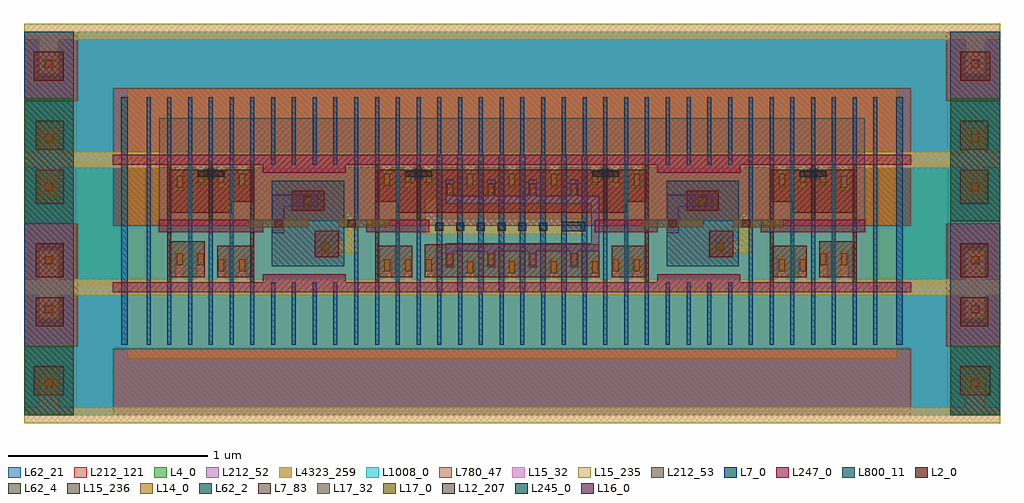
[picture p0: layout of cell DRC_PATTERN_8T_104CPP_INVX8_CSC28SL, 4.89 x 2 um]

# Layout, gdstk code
import gdstk
lib = gdstk.Library(unit=1e-6, precision=1e-09)
def R(c, l, rs):  # rectangles x0, y0, x1, y1
    for r in rs: c.add(gdstk.rectangle(r[:2], r[2:], *l))
def A(c, l, x, y, w, h, nx, ny, dx, dy):  # array of equal rectangles
    R(c, l, [(x+i*dx, y+j*dy, x+i*dx+w, y+j*dy+h) for i in range(nx) for j in range(ny)])
def P(c, l, *ps):  # polygons
    for p in ps: c.add(gdstk.Polygon(p, *l))
L2_0 = (2, 0)
L4_0 = (4, 0)
L7_0 = (7, 0)
L7_83 = (7, 83)
L12_207 = (12, 207)
L14_0 = (14, 0)
L15_32 = (15, 32)
L15_235 = (15, 235)
L15_236 = (15, 236)
L16_0 = (16, 0)
L17_0 = (17, 0)
L17_32 = (17, 32)
L62_2 = (62, 2)
L62_4 = (62, 4)
L62_21 = (62, 21)
L212_52 = (212, 52)
L212_53 = (212, 53)
L212_121 = (212, 121)
L245_0 = (245, 0)
L247_0 = (247, 0)
L780_47 = (780, 47)
L800_11 = (800, 11)
L1008_0 = (1008, 0)
L4323_259 = (4323, 259)

sc8t_colcappx1_csc20sl = lib.new_cell('SC8T_COLCAPPX1_CSC20SL')
R(sc8t_colcappx1_csc20sl, L4_0, [(0,0,0.104,0.432)])
R(sc8t_colcappx1_csc20sl, L7_0, [(-0.01,0.328,0.01,0.665), (0.094,0.328,0.114,0.665)])
R(sc8t_colcappx1_csc20sl, L15_32, [(-0.052,-0.04,0.156,0.04), (-0.052,0.6,0.156,0.68)])
R(sc8t_colcappx1_csc20sl, L15_235, [(-0.052,-0.04,0.156,0.04), (-0.052,0.6,0.156,0.68)])
R(sc8t_colcappx1_csc20sl, L62_21, [(0,0,0.104,0.64)])
R(sc8t_colcappx1_csc20sl, L212_52, [(0,0,0.104,0.432)])
R(sc8t_colcappx1_csc20sl, L212_53, [(0,0.432,0.104,0.64), (0,0.432,0.104,0.64)])
R(sc8t_colcappx1_csc20sl, L212_121, [(0,0,0.104,0.64)])
R(sc8t_colcappx1_csc20sl, L247_0, [(-0.052,0.615,0.156,0.665)])
R(sc8t_colcappx1_csc20sl, L780_47, [(0,0.282,0.104,0.64)])
R(sc8t_colcappx1_csc20sl, L1008_0, [(0,0,0.104,0.282)])
R(sc8t_colcappx1_csc20sl, L4323_259, [(0,0.282,0.104,0.64)])
sc8t_colcappx1_csc20sl.add(gdstk.Label('VDD', (0.05,0.64), layer=15, texttype=20))
sc8t_colcappx1_csc20sl.add(gdstk.Label('VSS', (0.05,0), layer=15, texttype=20))
sc8t_colcappx1_csc20sl.add(gdstk.Label('VNW_N', (0.05,0), layer=4, texttype=20))
sc8t_colcappx1_csc20sl.add(gdstk.Label('SC8T_104CPP_BASE_CSC20SL', (0,0), layer=63, texttype=63))

sc8t_tapx10_csc20sl = lib.new_cell('SC8T_TAPX10_CSC20SL')
R(sc8t_tapx10_csc20sl, L2_0, [(0.032,0.05,0.208,0.208), (0.832,0.05,1.008,0.208), (0.519,0.15,0.64,0.283), (0.406,0.383,0.568,0.485)])
P(sc8t_tapx10_csc20sl, L2_0, [(0.832,0.59),(1.04,0.59),(1.04,0.375),(0.936,0.375),(0.936,0.43),(0.832,0.43)],
  [(0.208,0.59),(0,0.59),(0,0.375),(0.104,0.375),(0.104,0.43),(0.208,0.43)])
R(sc8t_tapx10_csc20sl, L4_0, [(0,0,0.208,0.308), (0.208,0,0.782,0.333), (0.782,0,1.04,0.308)])
A(sc8t_tapx10_csc20sl, L7_0, -0.01, -0.025, 0.02, 0.69, 3, 1, 0.104, 0)
A(sc8t_tapx10_csc20sl, L7_0, 0.822, -0.025, 0.02, 0.69, 3, 1, 0.104, 0)
R(sc8t_tapx10_csc20sl, L7_0, [(0.718,-0.025,0.738,0.665), (0.822,-0.025,0.842,0.665), (-0.018,0.545,0.018,0.595), (-0.018,0.545,0.018,0.595), (1.022,0.545,1.058,0.595), (1.022,0.545,1.058,0.595)])
R(sc8t_tapx10_csc20sl, L7_83, [(0.198,0.025,0.218,0.275), (0.822,0.025,0.842,0.275), (0.198,0.339,0.218,0.615), (0.822,0.339,0.842,0.615)])
R(sc8t_tapx10_csc20sl, L12_207, [(-0.01,0.339,0.01,0.615), (1.03,0.339,1.05,0.615)])
R(sc8t_tapx10_csc20sl, L14_0, [(0.037,0.08,0.067,0.14), (0.141,0.08,0.171,0.14), (0.869,0.08,0.899,0.14), (0.973,0.08,1.003,0.14), (0.552,0.184,0.592,0.224), (0.466,0.415,0.506,0.455), (0.141,0.509,0.171,0.569), (0.869,0.509,0.899,0.569), (0.037,0.525,0.067,0.585), (0.037,0.525,0.067,0.585), (0.973,0.525,1.003,0.585)])
R(sc8t_tapx10_csc20sl, L15_32, [(-0.052,-0.04,1.092,0.04), (0.032,-0.04,0.072,0.15), (0.136,-0.04,0.176,0.15), (0.864,-0.04,0.904,0.15), (0.968,-0.04,1.008,0.15), (0.032,0.499,0.072,0.68), (0.136,0.499,0.176,0.68), (0.864,0.499,0.904,0.68), (0.968,0.499,1.008,0.68), (-0.052,0.6,1.092,0.68)])
R(sc8t_tapx10_csc20sl, L15_235, [(-0.052,-0.04,1.092,0.04), (0.032,-0.04,0.072,0.15), (0.136,-0.04,0.176,0.15), (0.864,-0.04,0.904,0.15), (0.968,-0.04,1.008,0.15), (0.522,0.174,0.736,0.234), (0.676,0.174,0.736,0.37), (0.032,0.499,0.072,0.68), (0.136,0.499,0.176,0.68), (0.864,0.499,0.904,0.68), (0.968,0.499,1.008,0.68), (-0.052,0.6,1.092,0.68)])
R(sc8t_tapx10_csc20sl, L15_236, [(0.308,0.27,0.368,0.465), (0.308,0.405,0.536,0.465)])
R(sc8t_tapx10_csc20sl, L16_0, [(0.318,0.3,0.358,0.34), (0.686,0.3,0.726,0.34)])
R(sc8t_tapx10_csc20sl, L17_0, [(0.19,0.3,0.49,0.34), (0.638,0.3,0.891,0.34)])
R(sc8t_tapx10_csc20sl, L17_32, [(0.19,0.3,0.49,0.34), (0.638,0.3,0.891,0.34)])
R(sc8t_tapx10_csc20sl, L62_2, [(0.094,0.025,0.114,0.275), (0.926,0.025,0.946,0.275), (0.094,0.339,0.114,0.615), (0.926,0.339,0.946,0.615)])
R(sc8t_tapx10_csc20sl, L62_21, [(0,0,1.04,0.64)])
P(sc8t_tapx10_csc20sl, L212_52, [(1.04,0.308),(0.782,0.308),(0.782,0.333),(0.208,0.333),(0.208,0.308),(0,0.308),(0,0),(1.04,0)])
P(sc8t_tapx10_csc20sl, L212_53, [(1.04,0.64),(0,0.64),(0,0.308),(0.208,0.308),(0.208,0.333),(0.782,0.333),(0.782,0.308),(1.04,0.308)])
R(sc8t_tapx10_csc20sl, L212_121, [(0,0,1.04,0.64)])
R(sc8t_tapx10_csc20sl, L245_0, [(0,0.555,0.067,0.585), (0,0.555,0.067,0.585), (0.973,0.555,1.04,0.585)])
R(sc8t_tapx10_csc20sl, L247_0, [(-0.052,-0.025,1.092,0.025), (0.26,0,0.676,0.065), (-0.054,0.275,0.262,0.339), (0.778,0.275,1.094,0.339), (0.26,0.575,0.676,0.64), (-0.052,0.615,1.092,0.665)])
R(sc8t_tapx10_csc20sl, L780_47, [(0.782,0.308,1.04,0.64), (0.306,0.333,0.668,0.535), (0.668,0.333,0.782,0.64), (0.306,0.535,0.668,0.64)])
P(sc8t_tapx10_csc20sl, L780_47, [(0.306,0.64),(0,0.64),(0,0.308),(0.208,0.308),(0.208,0.333),(0.306,0.333)])
R(sc8t_tapx10_csc20sl, L800_11, [(0.306,0.105,0.668,0.535)])
R(sc8t_tapx10_csc20sl, L1008_0, [(0.419,0,0.782,0.1), (0.782,0,1.04,0.308), (0.419,0.1,0.782,0.333)])
P(sc8t_tapx10_csc20sl, L1008_0, [(0.419,0.333),(0.208,0.333),(0.208,0.308),(0,0.308),(0,0),(0.419,0)])
R(sc8t_tapx10_csc20sl, L4323_259, [(0,0,1.04,0.64)])
sc8t_tapx10_csc20sl.add(gdstk.Label('VDD', (0.05,0.64), layer=15, texttype=20))
sc8t_tapx10_csc20sl.add(gdstk.Label('VSS', (0.05,0), layer=15, texttype=20))
sc8t_tapx10_csc20sl.add(gdstk.Label('SC8T_104CPP_BASE_CSC20SL', (0,0), layer=63, texttype=63))
sc8t_tapx10_csc20sl.add(gdstk.Label('VPW_N', (0.766,0.32), layer=17, texttype=20))
sc8t_tapx10_csc20sl.add(gdstk.Label('VNW_P', (0.421,0.32), layer=17, texttype=20))

sc8t_rowcapantennarx9_cs = lib.new_cell('SC8T_ROWCAPANTENNARX9_CSC20SL')
R(sc8t_rowcapantennarx9_cs, L2_0, [(0.032,0.05,0.208,0.23), (0.736,0.05,0.878,0.22), (0,0.375,0.208,0.59), (0.736,0.42,0.878,0.59)])
R(sc8t_rowcapantennarx9_cs, L4_0, [(0,0,0.258,0.308), (0.258,0,0.678,0.64)])
A(sc8t_rowcapantennarx9_cs, L7_0, -0.01, -0.025, 0.02, 0.69, 4, 1, 0.104, 0)
R(sc8t_rowcapantennarx9_cs, L7_0, [(0.302,-0.025,0.322,0.665), (0.416,-0.025,0.448,0.665), (-0.018,0.545,0.018,0.595)])
R(sc8t_rowcapantennarx9_cs, L7_83, [(0.198,0.025,0.218,0.275), (0.198,0.339,0.218,0.615)])
R(sc8t_rowcapantennarx9_cs, L12_207, [(-0.01,0.339,0.01,0.615)])
R(sc8t_rowcapantennarx9_cs, L14_0, [(0.037,0.11,0.067,0.17), (0.141,0.11,0.171,0.17), (0.791,0.115,0.831,0.155), (0.791,0.485,0.831,0.525), (0.141,0.5,0.171,0.56), (0.037,0.525,0.067,0.585)])
R(sc8t_rowcapantennarx9_cs, L15_32, [(-0.052,-0.04,0.936,0.04), (0.032,-0.04,0.072,0.18), (0.136,-0.04,0.176,0.18), (0.761,-0.04,0.861,0.185), (0.761,0.454,0.861,0.68), (0.136,0.485,0.176,0.68), (0.032,0.515,0.072,0.68), (-0.052,0.6,0.936,0.68)])
R(sc8t_rowcapantennarx9_cs, L15_235, [(-0.052,-0.04,0.936,0.04), (0.032,-0.04,0.072,0.18), (0.136,-0.04,0.176,0.18), (0.761,-0.04,0.861,0.185), (0.761,0.454,0.861,0.68), (0.136,0.485,0.176,0.68), (0.032,0.515,0.072,0.68), (-0.052,0.6,0.936,0.68)])
R(sc8t_rowcapantennarx9_cs, L62_2, [(0.094,0.025,0.114,0.275), (0.094,0.339,0.114,0.615)])
R(sc8t_rowcapantennarx9_cs, L62_4, [(0.686,0.332,0.936,0.64)])
R(sc8t_rowcapantennarx9_cs, L62_21, [(0,0,0.936,0.64)])
R(sc8t_rowcapantennarx9_cs, L212_52, [(0,0,0.258,0.308)])
R(sc8t_rowcapantennarx9_cs, L212_53, [(0,0.308,0.258,0.64)])
R(sc8t_rowcapantennarx9_cs, L212_121, [(0,0,0.936,0.64)])
R(sc8t_rowcapantennarx9_cs, L245_0, [(0,0.555,0.067,0.585)])
R(sc8t_rowcapantennarx9_cs, L247_0, [(-0.052,-0.025,0.492,0.025), (-0.054,0.275,0.262,0.339), (-0.052,0.615,0.492,0.665)])
R(sc8t_rowcapantennarx9_cs, L780_47, [(0.668,0,0.936,0.32), (0,0.308,0.488,0.64)])
R(sc8t_rowcapantennarx9_cs, L800_11, [(0.686,0,0.936,0.64)])
R(sc8t_rowcapantennarx9_cs, L1008_0, [(0,0,0.488,0.308), (0.488,0,0.668,0.64), (0.668,0.32,0.936,0.64)])
R(sc8t_rowcapantennarx9_cs, L4323_259, [(0,0,0.418,0.64)])
sc8t_rowcapantennarx9_cs.add(gdstk.Label('VSS', (0.05,0), layer=15, texttype=20))
sc8t_rowcapantennarx9_cs.add(gdstk.Label('VDD', (0.05,0.64), layer=15, texttype=20))
sc8t_rowcapantennarx9_cs.add(gdstk.Label('VNW_N', (0.05,0), layer=4, texttype=20))
sc8t_rowcapantennarx9_cs.add(gdstk.Label('SC8T_104CPP_BASE_CSC20SL', (0,0), layer=63, texttype=63))

sc8t_invx8_csc28sl = lib.new_cell('SC8T_INVX8_CSC28SL')
R(sc8t_invx8_csc28sl, L2_0, [(0.032,0.05,0.904,0.215), (0,0.375,0.936,0.59)])
R(sc8t_invx8_csc28sl, L4_0, [(0,0,0.936,0.308)])
A(sc8t_invx8_csc28sl, L7_0, 0.09, -0.025, 0.028, 0.69, 8, 1, 0.104, 0)
R(sc8t_invx8_csc28sl, L7_0, [(-0.01,-0.025,0.01,0.665), (0.926,-0.025,0.946,0.665), (0.812,0.285,0.842,0.325), (-0.018,0.545,0.018,0.595), (0.918,0.545,0.954,0.595)])
R(sc8t_invx8_csc28sl, L12_207, [(-0.01,0.339,0.01,0.615), (0.926,0.339,0.946,0.615)])
A(sc8t_invx8_csc28sl, L14_0, 0.245, 0.07, 0.03, 0.06, 4, 1, 0.208, 0)
A(sc8t_invx8_csc28sl, L14_0, 0.141, 0.11, 0.03, 0.06, 4, 2, 0.208, 0.349)
A(sc8t_invx8_csc28sl, L14_0, 0.245, 0.51, 0.03, 0.06, 3, 1, 0.208, 0)
R(sc8t_invx8_csc28sl, L14_0, [(0.037,0.08,0.067,0.14), (0.037,0.525,0.067,0.585), (0.869,0.525,0.899,0.585)])
A(sc8t_invx8_csc28sl, L15_32, 0.24, -0.04, 0.04, 0.18, 4, 1, 0.208, 0)
A(sc8t_invx8_csc28sl, L15_32, 0.136, 0.1, 0.04, 0.12, 4, 2, 0.208, 0.319)
A(sc8t_invx8_csc28sl, L15_32, 0.24, 0.5, 0.04, 0.18, 3, 1, 0.208, 0)
R(sc8t_invx8_csc28sl, L15_32, [(-0.052,-0.04,0.988,0.04), (-0.052,-0.04,0.988,0.04), (-0.052,-0.04,0.988,0.04), (-0.052,-0.04,0.988,0.04), (-0.052,-0.04,0.988,0.04), (0.032,-0.04,0.072,0.15), (0.136,0.18,0.904,0.22), (0.136,0.18,0.904,0.22), (0.136,0.18,0.904,0.22), (0.864,0.18,0.904,0.459), (0.034,0.265,0.094,0.44), (0.034,0.265,0.822,0.345), (0.136,0.419,0.904,0.459), (0.032,0.515,0.072,0.68), (0.864,0.515,0.904,0.68), (-0.052,0.6,0.988,0.68)])
A(sc8t_invx8_csc28sl, L15_235, 0.24, -0.04, 0.04, 0.18, 4, 1, 0.208, 0)
A(sc8t_invx8_csc28sl, L15_235, 0.24, 0.5, 0.04, 0.18, 3, 1, 0.208, 0)
R(sc8t_invx8_csc28sl, L15_235, [(-0.052,-0.04,0.988,0.04), (-0.052,-0.04,0.988,0.04), (-0.052,-0.04,0.988,0.04), (-0.052,-0.04,0.988,0.04), (-0.052,-0.04,0.988,0.04), (0.032,-0.04,0.072,0.15), (0.034,0.265,0.822,0.345), (0.034,0.265,0.094,0.44), (0.032,0.515,0.072,0.68), (0.864,0.515,0.904,0.68), (-0.052,0.6,0.988,0.68)])
A(sc8t_invx8_csc28sl, L15_236, 0.136, 0.1, 0.04, 0.12, 4, 2, 0.208, 0.319)
R(sc8t_invx8_csc28sl, L15_236, [(0.136,0.18,0.904,0.22), (0.136,0.18,0.904,0.22), (0.136,0.18,0.904,0.22), (0.864,0.18,0.904,0.459), (0.136,0.419,0.904,0.459)])
R(sc8t_invx8_csc28sl, L62_21, [(0,0,0.936,0.64)])
R(sc8t_invx8_csc28sl, L212_52, [(0,0,0.936,0.308)])
R(sc8t_invx8_csc28sl, L212_53, [(0,0.308,0.936,0.64)])
R(sc8t_invx8_csc28sl, L212_121, [(0,0,0.936,0.64)])
A(sc8t_invx8_csc28sl, L245_0, 0.084, 0.283, 0.04, 0.04, 6, 1, 0.104, 0)
R(sc8t_invx8_csc28sl, L245_0, [(0.716,0.28,0.836,0.33), (0,0.555,0.067,0.585), (0.869,0.555,0.936,0.585)])
R(sc8t_invx8_csc28sl, L247_0, [(-0.052,-0.025,0.988,0.025), (-0.054,0.275,0.05,0.339), (0.886,0.275,0.99,0.339), (-0.052,0.615,0.988,0.665)])
R(sc8t_invx8_csc28sl, L780_47, [(0,0.308,0.936,0.64)])
R(sc8t_invx8_csc28sl, L1008_0, [(0,0,0.936,0.308)])
R(sc8t_invx8_csc28sl, L4323_259, [(0,0,0.936,0.64)])
sc8t_invx8_csc28sl.add(gdstk.Label('VDD', (0.05,0.64), layer=15, texttype=20))
sc8t_invx8_csc28sl.add(gdstk.Label('VSS', (0.05,0), layer=15, texttype=20))
sc8t_invx8_csc28sl.add(gdstk.Label('Z', (0.884,0.37), layer=15, texttype=20))
sc8t_invx8_csc28sl.add(gdstk.Label('A', (0.081,0.322), layer=15, texttype=20))
sc8t_invx8_csc28sl.add(gdstk.Label('VNW_N', (0.05,0), layer=4, texttype=20))
sc8t_invx8_csc28sl.add(gdstk.Label('VPW_P', (0.05,0.64), layer=62, texttype=10))
sc8t_invx8_csc28sl.add(gdstk.Label('SC8T_104CPP_BASE_CSC28SL', (0,0), layer=63, texttype=63))

sc8t_colcapnx1_csc20sl = lib.new_cell('SC8T_COLCAPNX1_CSC20SL')
R(sc8t_colcapnx1_csc20sl, L4_0, [(0,0,0.104,0.64)])
R(sc8t_colcapnx1_csc20sl, L7_0, [(-0.01,-0.025,0.01,0.288), (0.094,-0.025,0.114,0.288)])
R(sc8t_colcapnx1_csc20sl, L15_32, [(-0.052,-0.04,0.156,0.04), (-0.052,0.6,0.156,0.68)])
R(sc8t_colcapnx1_csc20sl, L15_235, [(-0.052,-0.04,0.156,0.04), (-0.052,0.6,0.156,0.68)])
R(sc8t_colcapnx1_csc20sl, L62_21, [(0,0,0.104,0.64)])
R(sc8t_colcapnx1_csc20sl, L212_52, [(0,0,0.104,0.64)])
R(sc8t_colcapnx1_csc20sl, L212_121, [(0,0,0.104,0.64)])
R(sc8t_colcapnx1_csc20sl, L247_0, [(-0.052,-0.025,0.156,0.025)])
R(sc8t_colcapnx1_csc20sl, L780_47, [(0,0.308,0.104,0.64)])
R(sc8t_colcapnx1_csc20sl, L1008_0, [(0,0,0.104,0.308)])
R(sc8t_colcapnx1_csc20sl, L4323_259, [(0,0,0.104,0.358)])
sc8t_colcapnx1_csc20sl.add(gdstk.Label('VSS', (0.05,0), layer=15, texttype=20))
sc8t_colcapnx1_csc20sl.add(gdstk.Label('VDD', (0.05,0.64), layer=15, texttype=20))
sc8t_colcapnx1_csc20sl.add(gdstk.Label('VNW_N', (0.05,0), layer=4, texttype=20))
sc8t_colcapnx1_csc20sl.add(gdstk.Label('SC8T_104CPP_BASE_CSC20SL', (0,0), layer=63, texttype=63))

sc8t_cnrextantennaplx9_c = lib.new_cell('SC8T_CNREXTANTENNAPLX9_CSC20SL')
R(sc8t_cnrextantennaplx9_c, L2_0, [(0.05,0.1,0.2,0.245), (0.058,0.445,0.2,0.59)])
R(sc8t_cnrextantennaplx9_c, L4_0, [(0.258,0,0.678,0.64), (0.678,0,0.936,0.432)])
A(sc8t_cnrextantennaplx9_c, L7_0, 0.614, 0.328, 0.02, 0.337, 4, 1, 0.104, 0)
R(sc8t_cnrextantennaplx9_c, L7_0, [(0.488,0.328,0.52,0.665), (0.614,0.328,0.634,0.665)])
R(sc8t_cnrextantennaplx9_c, L14_0, [(0.105,0.14,0.145,0.18), (0.105,0.51,0.145,0.55)])
R(sc8t_cnrextantennaplx9_c, L15_32, [(0,-0.04,0.988,0.04), (0.075,-0.04,0.175,0.21), (0.075,0.479,0.175,0.68), (0,0.6,0.988,0.68)])
R(sc8t_cnrextantennaplx9_c, L15_235, [(0,-0.04,0.988,0.04), (0.075,-0.04,0.175,0.21), (0.075,0.479,0.175,0.68), (0,0.6,0.988,0.68)])
R(sc8t_cnrextantennaplx9_c, L62_4, [(0,0.333,0.25,0.64)])
R(sc8t_cnrextantennaplx9_c, L62_21, [(0,0,0.936,0.64)])
R(sc8t_cnrextantennaplx9_c, L212_52, [(0.258,0,0.678,0.64), (0.678,0,0.936,0.432)])
R(sc8t_cnrextantennaplx9_c, L212_53, [(0.678,0.432,0.936,0.64)])
R(sc8t_cnrextantennaplx9_c, L212_121, [(0,0,0.936,0.64)])
R(sc8t_cnrextantennaplx9_c, L247_0, [(0.444,0.615,0.988,0.665)])
R(sc8t_cnrextantennaplx9_c, L780_47, [(0,0,0.268,0.345), (0.448,0.282,0.936,0.64)])
R(sc8t_cnrextantennaplx9_c, L800_11, [(0,0,0.25,0.64)])
R(sc8t_cnrextantennaplx9_c, L1008_0, [(0.268,0,0.448,0.64), (0.448,0,0.936,0.282), (0,0.345,0.268,0.64)])
R(sc8t_cnrextantennaplx9_c, L4323_259, [(0.518,0.282,0.936,0.64)])
sc8t_cnrextantennaplx9_c.add(gdstk.Label('VSS', (0.05,0), layer=15, texttype=20))
sc8t_cnrextantennaplx9_c.add(gdstk.Label('VDD', (0.05,0.64), layer=15, texttype=20))
sc8t_cnrextantennaplx9_c.add(gdstk.Label('VNW_N', (0.886,0), layer=4, texttype=20))
sc8t_cnrextantennaplx9_c.add(gdstk.Label('SC8T_104CPP_BASE_CSC20SL', (0,0), layer=63, texttype=63))

sc8t_cnrextantennanrx9_c = lib.new_cell('SC8T_CNREXTANTENNANRX9_CSC20SL')
R(sc8t_cnrextantennanrx9_c, L2_0, [(0.736,0.05,0.878,0.195), (0.736,0.395,0.886,0.54)])
R(sc8t_cnrextantennanrx9_c, L4_0, [(0,0,0.678,0.64)])
A(sc8t_cnrextantennanrx9_c, L7_0, -0.01, -0.025, 0.02, 0.313, 4, 1, 0.104, 0)
R(sc8t_cnrextantennanrx9_c, L7_0, [(0.416,-0.025,0.448,0.288)])
R(sc8t_cnrextantennanrx9_c, L14_0, [(0.791,0.09,0.831,0.13), (0.791,0.46,0.831,0.5)])
R(sc8t_cnrextantennanrx9_c, L15_32, [(-0.052,-0.04,0.936,0.04), (0.761,-0.04,0.861,0.16), (0.761,0.429,0.861,0.68), (-0.052,0.6,0.936,0.68)])
R(sc8t_cnrextantennanrx9_c, L15_235, [(-0.052,-0.04,0.936,0.04), (0.761,-0.04,0.861,0.16), (0.761,0.429,0.861,0.68), (-0.052,0.6,0.936,0.68)])
R(sc8t_cnrextantennanrx9_c, L62_4, [(0.686,0.295,0.936,0.64)])
R(sc8t_cnrextantennanrx9_c, L62_21, [(0,0,0.936,0.64)])
R(sc8t_cnrextantennanrx9_c, L212_52, [(0,0,0.678,0.64)])
R(sc8t_cnrextantennanrx9_c, L212_121, [(0,0,0.936,0.64)])
R(sc8t_cnrextantennanrx9_c, L247_0, [(-0.052,-0.025,0.492,0.025)])
R(sc8t_cnrextantennanrx9_c, L780_47, [(0.668,0,0.936,0.295), (0,0.308,0.488,0.64)])
R(sc8t_cnrextantennanrx9_c, L800_11, [(0.686,0,0.936,0.64)])
R(sc8t_cnrextantennanrx9_c, L1008_0, [(0,0,0.488,0.308), (0.488,0,0.668,0.64), (0.668,0.295,0.936,0.64)])
R(sc8t_cnrextantennanrx9_c, L4323_259, [(0,0,0.418,0.358)])
sc8t_cnrextantennanrx9_c.add(gdstk.Label('VDD', (0.05,0.64), layer=15, texttype=20))
sc8t_cnrextantennanrx9_c.add(gdstk.Label('VSS', (0.05,0), layer=15, texttype=20))
sc8t_cnrextantennanrx9_c.add(gdstk.Label('VNW_N', (0.05,0), layer=4, texttype=20))
sc8t_cnrextantennanrx9_c.add(gdstk.Label('SC8T_104CPP_BASE_CSC20SL', (0,0), layer=63, texttype=63))

sc8t_rowcapantennalx9_cs = lib.new_cell('SC8T_ROWCAPANTENNALX9_CSC20SL')
R(sc8t_rowcapantennalx9_cs, L2_0, [(0.058,0.05,0.2,0.22), (0.728,0.05,0.904,0.23), (0.728,0.375,0.936,0.59), (0.058,0.42,0.2,0.59)])
R(sc8t_rowcapantennalx9_cs, L4_0, [(0.258,0,0.678,0.64), (0.678,0,0.936,0.308)])
A(sc8t_rowcapantennalx9_cs, L7_0, 0.614, -0.025, 0.02, 0.69, 4, 1, 0.104, 0)
R(sc8t_rowcapantennalx9_cs, L7_0, [(0.488,-0.025,0.52,0.665), (0.614,-0.025,0.634,0.665), (0.918,0.545,0.954,0.595)])
R(sc8t_rowcapantennalx9_cs, L7_83, [(0.718,0.025,0.738,0.275), (0.718,0.339,0.738,0.615)])
R(sc8t_rowcapantennalx9_cs, L12_207, [(0.926,0.339,0.946,0.615)])
R(sc8t_rowcapantennalx9_cs, L14_0, [(0.765,0.11,0.795,0.17), (0.869,0.11,0.899,0.17), (0.105,0.115,0.145,0.155), (0.105,0.485,0.145,0.525), (0.765,0.5,0.795,0.56), (0.869,0.525,0.899,0.585)])
R(sc8t_rowcapantennalx9_cs, L15_32, [(0,-0.04,0.988,0.04), (0.075,-0.04,0.175,0.185), (0.76,-0.04,0.8,0.18), (0.864,-0.04,0.904,0.18), (0.075,0.454,0.175,0.68), (0.76,0.485,0.8,0.68), (0.864,0.515,0.904,0.68), (0,0.6,0.988,0.68)])
R(sc8t_rowcapantennalx9_cs, L15_235, [(0,-0.04,0.988,0.04), (0.075,-0.04,0.175,0.185), (0.76,-0.04,0.8,0.18), (0.864,-0.04,0.904,0.18), (0.075,0.454,0.175,0.68), (0.76,0.485,0.8,0.68), (0.864,0.515,0.904,0.68), (0,0.6,0.988,0.68)])
R(sc8t_rowcapantennalx9_cs, L62_2, [(0.822,0.025,0.842,0.275), (0.822,0.339,0.842,0.615)])
R(sc8t_rowcapantennalx9_cs, L62_4, [(0,0.32,0.25,0.64)])
R(sc8t_rowcapantennalx9_cs, L62_21, [(0,0,0.936,0.64)])
R(sc8t_rowcapantennalx9_cs, L212_52, [(0.678,0,0.936,0.308)])
R(sc8t_rowcapantennalx9_cs, L212_53, [(0.678,0.308,0.936,0.64)])
R(sc8t_rowcapantennalx9_cs, L212_121, [(0,0,0.936,0.64)])
R(sc8t_rowcapantennalx9_cs, L245_0, [(0.869,0.555,0.936,0.585)])
R(sc8t_rowcapantennalx9_cs, L247_0, [(0.444,-0.025,0.988,0.025), (0.674,0.275,0.99,0.339), (0.444,0.615,0.988,0.665)])
R(sc8t_rowcapantennalx9_cs, L780_47, [(0,0,0.268,0.32), (0.448,0.308,0.936,0.64)])
R(sc8t_rowcapantennalx9_cs, L800_11, [(0,0,0.25,0.64)])
R(sc8t_rowcapantennalx9_cs, L1008_0, [(0.268,0,0.448,0.64), (0.448,0,0.936,0.308), (0,0.32,0.268,0.64)])
R(sc8t_rowcapantennalx9_cs, L4323_259, [(0.518,0,0.936,0.64)])
sc8t_rowcapantennalx9_cs.add(gdstk.Label('VSS', (0.05,0), layer=15, texttype=20))
sc8t_rowcapantennalx9_cs.add(gdstk.Label('VDD', (0.05,0.64), layer=15, texttype=20))
sc8t_rowcapantennalx9_cs.add(gdstk.Label('VNW_N', (0.886,0), layer=4, texttype=20))
sc8t_rowcapantennalx9_cs.add(gdstk.Label('SC8T_104CPP_BASE_CSC20SL', (0,0), layer=63, texttype=63))

sc8t_cnrextantennaprx9_c = lib.new_cell('SC8T_CNREXTANTENNAPRX9_CSC20SL')
R(sc8t_cnrextantennaprx9_c, L2_0, [(0.736,0.1,0.886,0.245), (0.736,0.445,0.878,0.59)])
R(sc8t_cnrextantennaprx9_c, L4_0, [(0,0,0.258,0.432), (0.258,0,0.678,0.64)])
A(sc8t_cnrextantennaprx9_c, L7_0, -0.01, 0.328, 0.02, 0.337, 4, 1, 0.104, 0)
R(sc8t_cnrextantennaprx9_c, L7_0, [(0.302,0.328,0.322,0.665), (0.416,0.328,0.448,0.665)])
R(sc8t_cnrextantennaprx9_c, L14_0, [(0.791,0.14,0.831,0.18), (0.791,0.51,0.831,0.55)])
R(sc8t_cnrextantennaprx9_c, L15_32, [(-0.052,-0.04,0.936,0.04), (0.761,-0.04,0.861,0.21), (0.761,0.479,0.861,0.68), (-0.052,0.6,0.936,0.68)])
R(sc8t_cnrextantennaprx9_c, L15_235, [(-0.052,-0.04,0.936,0.04), (0.761,-0.04,0.861,0.21), (0.761,0.479,0.861,0.68), (-0.052,0.6,0.936,0.68)])
R(sc8t_cnrextantennaprx9_c, L62_4, [(0.686,0.333,0.936,0.64)])
R(sc8t_cnrextantennaprx9_c, L62_21, [(0,0,0.936,0.64)])
R(sc8t_cnrextantennaprx9_c, L212_52, [(0,0,0.258,0.432), (0.258,0,0.678,0.64)])
R(sc8t_cnrextantennaprx9_c, L212_53, [(0,0.432,0.258,0.64)])
R(sc8t_cnrextantennaprx9_c, L212_121, [(0,0,0.936,0.64)])
R(sc8t_cnrextantennaprx9_c, L247_0, [(-0.052,0.615,0.492,0.665)])
R(sc8t_cnrextantennaprx9_c, L780_47, [(0.668,0,0.936,0.345), (0,0.282,0.488,0.64)])
R(sc8t_cnrextantennaprx9_c, L800_11, [(0.686,0,0.936,0.64)])
R(sc8t_cnrextantennaprx9_c, L1008_0, [(0,0,0.488,0.282), (0.488,0,0.668,0.64), (0.668,0.345,0.936,0.64)])
R(sc8t_cnrextantennaprx9_c, L4323_259, [(0,0.282,0.418,0.64)])
sc8t_cnrextantennaprx9_c.add(gdstk.Label('VSS', (0.05,0), layer=15, texttype=20))
sc8t_cnrextantennaprx9_c.add(gdstk.Label('VDD', (0.05,0.64), layer=15, texttype=20))
sc8t_cnrextantennaprx9_c.add(gdstk.Label('VNW_N', (0.05,0), layer=4, texttype=20))
sc8t_cnrextantennaprx9_c.add(gdstk.Label('SC8T_104CPP_BASE_CSC20SL', (0,0), layer=63, texttype=63))

sc8t_cnrextantennanlx9_c = lib.new_cell('SC8T_CNREXTANTENNANLX9_CSC20SL')
R(sc8t_cnrextantennanlx9_c, L2_0, [(0.058,0.05,0.2,0.195), (0.05,0.395,0.2,0.54)])
R(sc8t_cnrextantennanlx9_c, L4_0, [(0.258,0,0.936,0.64)])
A(sc8t_cnrextantennanlx9_c, L7_0, 0.614, -0.025, 0.02, 0.313, 4, 1, 0.104, 0)
R(sc8t_cnrextantennanlx9_c, L7_0, [(0.488,-0.025,0.52,0.288)])
R(sc8t_cnrextantennanlx9_c, L14_0, [(0.105,0.09,0.145,0.13), (0.105,0.46,0.145,0.5)])
R(sc8t_cnrextantennanlx9_c, L15_32, [(0,-0.04,0.988,0.04), (0.075,-0.04,0.175,0.16), (0.075,0.429,0.175,0.68), (0,0.6,0.988,0.68)])
R(sc8t_cnrextantennanlx9_c, L15_235, [(0,-0.04,0.988,0.04), (0.075,-0.04,0.175,0.16), (0.075,0.429,0.175,0.68), (0,0.6,0.988,0.68)])
R(sc8t_cnrextantennanlx9_c, L62_4, [(0,0.295,0.25,0.64), (0,0.295,0.25,0.64)])
R(sc8t_cnrextantennanlx9_c, L62_21, [(0,0,0.936,0.64)])
R(sc8t_cnrextantennanlx9_c, L212_52, [(0.258,0,0.936,0.64)])
R(sc8t_cnrextantennanlx9_c, L212_121, [(0,0,0.936,0.64)])
R(sc8t_cnrextantennanlx9_c, L247_0, [(0.444,-0.025,0.988,0.025)])
R(sc8t_cnrextantennanlx9_c, L780_47, [(0,0,0.268,0.295), (0.448,0.308,0.936,0.64)])
R(sc8t_cnrextantennanlx9_c, L800_11, [(0,0,0.25,0.64)])
R(sc8t_cnrextantennanlx9_c, L1008_0, [(0.268,0,0.448,0.64), (0.448,0,0.936,0.308), (0,0.295,0.268,0.64)])
R(sc8t_cnrextantennanlx9_c, L4323_259, [(0.518,0,0.936,0.358)])
sc8t_cnrextantennanlx9_c.add(gdstk.Label('VDD', (0.05,0.64), layer=15, texttype=20))
sc8t_cnrextantennanlx9_c.add(gdstk.Label('VSS', (0.05,0), layer=15, texttype=20))
sc8t_cnrextantennanlx9_c.add(gdstk.Label('VNW_N', (0.886,0), layer=4, texttype=20))
sc8t_cnrextantennanlx9_c.add(gdstk.Label('SC8T_104CPP_BASE_CSC20SL', (0,0), layer=63, texttype=63))

drc_pattern_8t_104cpp_in = lib.new_cell('DRC_PATTERN_8T_104CPP_INVX8_CSC28SL')
drc_pattern_8t_104cpp_in.add(gdstk.Reference(sc8t_colcappx1_csc20sl, (0.208,1.28), x_reflection=True))
drc_pattern_8t_104cpp_in.add(gdstk.Reference(sc8t_colcappx1_csc20sl, (0.312,1.28), x_reflection=True))
drc_pattern_8t_104cpp_in.add(gdstk.Reference(sc8t_colcappx1_csc20sl, (0.416,1.28), x_reflection=True))
drc_pattern_8t_104cpp_in.add(gdstk.Reference(sc8t_colcappx1_csc20sl, (0.52,1.28), x_reflection=True))
drc_pattern_8t_104cpp_in.add(gdstk.Reference(sc8t_colcappx1_csc20sl, (0.624,1.28), x_reflection=True))
drc_pattern_8t_104cpp_in.add(gdstk.Reference(sc8t_colcappx1_csc20sl, (0.728,1.28), x_reflection=True))
drc_pattern_8t_104cpp_in.add(gdstk.Reference(sc8t_colcappx1_csc20sl, (0.832,1.28), x_reflection=True))
drc_pattern_8t_104cpp_in.add(gdstk.Reference(sc8t_colcappx1_csc20sl, (1.872,1.28), x_reflection=True))
drc_pattern_8t_104cpp_in.add(gdstk.Reference(sc8t_colcappx1_csc20sl, (1.768,1.28), x_reflection=True))
drc_pattern_8t_104cpp_in.add(gdstk.Reference(sc8t_colcappx1_csc20sl, (1.664,1.28), x_reflection=True))
drc_pattern_8t_104cpp_in.add(gdstk.Reference(sc8t_colcappx1_csc20sl, (1.56,1.28), x_reflection=True))
drc_pattern_8t_104cpp_in.add(gdstk.Reference(sc8t_colcappx1_csc20sl, (1.456,1.28), x_reflection=True))
drc_pattern_8t_104cpp_in.add(gdstk.Reference(sc8t_colcappx1_csc20sl, (1.352,1.28), x_reflection=True))
drc_pattern_8t_104cpp_in.add(gdstk.Reference(sc8t_colcappx1_csc20sl, (1.248,1.28), x_reflection=True))
drc_pattern_8t_104cpp_in.add(gdstk.Reference(sc8t_colcappx1_csc20sl, (1.144,1.28), x_reflection=True))
drc_pattern_8t_104cpp_in.add(gdstk.Reference(sc8t_colcappx1_csc20sl, (0.936,1.28), x_reflection=True))
drc_pattern_8t_104cpp_in.add(gdstk.Reference(sc8t_colcappx1_csc20sl, (1.04,1.28), x_reflection=True))
drc_pattern_8t_104cpp_in.add(gdstk.Reference(sc8t_colcappx1_csc20sl, (0.104,1.28), x_reflection=True))
drc_pattern_8t_104cpp_in.add(gdstk.Reference(sc8t_colcappx1_csc20sl, (0,1.28), x_reflection=True))
drc_pattern_8t_104cpp_in.add(gdstk.Reference(sc8t_colcappx1_csc20sl, (-0.104,1.28), x_reflection=True))
drc_pattern_8t_104cpp_in.add(gdstk.Reference(sc8t_colcappx1_csc20sl, (-0.208,1.28), x_reflection=True))
drc_pattern_8t_104cpp_in.add(gdstk.Reference(sc8t_colcappx1_csc20sl, (-0.312,1.28), x_reflection=True))
drc_pattern_8t_104cpp_in.add(gdstk.Reference(sc8t_colcappx1_csc20sl, (-0.416,1.28), x_reflection=True))
drc_pattern_8t_104cpp_in.add(gdstk.Reference(sc8t_colcappx1_csc20sl, (-0.52,1.28), x_reflection=True))
drc_pattern_8t_104cpp_in.add(gdstk.Reference(sc8t_colcappx1_csc20sl, (-0.624,1.28), x_reflection=True))
drc_pattern_8t_104cpp_in.add(gdstk.Reference(sc8t_colcappx1_csc20sl, (-0.728,1.28), x_reflection=True))
drc_pattern_8t_104cpp_in.add(gdstk.Reference(sc8t_colcappx1_csc20sl, (-0.832,1.28), x_reflection=True))
drc_pattern_8t_104cpp_in.add(gdstk.Reference(sc8t_colcappx1_csc20sl, (-1.04,1.28), x_reflection=True))
drc_pattern_8t_104cpp_in.add(gdstk.Reference(sc8t_colcappx1_csc20sl, (-0.936,1.28), x_reflection=True))
drc_pattern_8t_104cpp_in.add(gdstk.Reference(sc8t_tapx10_csc20sl, (-1.04,0)))
drc_pattern_8t_104cpp_in.add(gdstk.Reference(sc8t_tapx10_csc20sl, (0.936,0)))
drc_pattern_8t_104cpp_in.add(gdstk.Reference(sc8t_rowcapantennarx9_cs, (1.976,0)))
drc_pattern_8t_104cpp_in.add(gdstk.Reference(sc8t_invx8_csc28sl, (0,0)))
drc_pattern_8t_104cpp_in.add(gdstk.Reference(sc8t_colcapnx1_csc20sl, (0.832,0), x_reflection=True))
drc_pattern_8t_104cpp_in.add(gdstk.Reference(sc8t_colcapnx1_csc20sl, (0.208,0), x_reflection=True))
drc_pattern_8t_104cpp_in.add(gdstk.Reference(sc8t_colcapnx1_csc20sl, (0.728,0), x_reflection=True))
drc_pattern_8t_104cpp_in.add(gdstk.Reference(sc8t_colcapnx1_csc20sl, (0.624,0), x_reflection=True))
drc_pattern_8t_104cpp_in.add(gdstk.Reference(sc8t_colcapnx1_csc20sl, (0.52,0), x_reflection=True))
drc_pattern_8t_104cpp_in.add(gdstk.Reference(sc8t_colcapnx1_csc20sl, (0.416,0), x_reflection=True))
drc_pattern_8t_104cpp_in.add(gdstk.Reference(sc8t_colcapnx1_csc20sl, (1.768,0), x_reflection=True))
drc_pattern_8t_104cpp_in.add(gdstk.Reference(sc8t_colcapnx1_csc20sl, (1.872,0), x_reflection=True))
drc_pattern_8t_104cpp_in.add(gdstk.Reference(sc8t_colcapnx1_csc20sl, (1.664,0), x_reflection=True))
drc_pattern_8t_104cpp_in.add(gdstk.Reference(sc8t_colcapnx1_csc20sl, (1.56,0), x_reflection=True))
drc_pattern_8t_104cpp_in.add(gdstk.Reference(sc8t_colcapnx1_csc20sl, (1.456,0), x_reflection=True))
drc_pattern_8t_104cpp_in.add(gdstk.Reference(sc8t_colcapnx1_csc20sl, (1.352,0), x_reflection=True))
drc_pattern_8t_104cpp_in.add(gdstk.Reference(sc8t_colcapnx1_csc20sl, (1.248,0), x_reflection=True))
drc_pattern_8t_104cpp_in.add(gdstk.Reference(sc8t_colcapnx1_csc20sl, (1.144,0), x_reflection=True))
drc_pattern_8t_104cpp_in.add(gdstk.Reference(sc8t_colcapnx1_csc20sl, (1.04,0), x_reflection=True))
drc_pattern_8t_104cpp_in.add(gdstk.Reference(sc8t_colcapnx1_csc20sl, (0.936,0), x_reflection=True))
drc_pattern_8t_104cpp_in.add(gdstk.Reference(sc8t_colcapnx1_csc20sl, (0.104,0), x_reflection=True))
drc_pattern_8t_104cpp_in.add(gdstk.Reference(sc8t_colcapnx1_csc20sl, (0,0), x_reflection=True))
drc_pattern_8t_104cpp_in.add(gdstk.Reference(sc8t_colcapnx1_csc20sl, (-0.104,0), x_reflection=True))
drc_pattern_8t_104cpp_in.add(gdstk.Reference(sc8t_colcapnx1_csc20sl, (-0.208,0), x_reflection=True))
drc_pattern_8t_104cpp_in.add(gdstk.Reference(sc8t_colcapnx1_csc20sl, (-0.312,0), x_reflection=True))
drc_pattern_8t_104cpp_in.add(gdstk.Reference(sc8t_colcapnx1_csc20sl, (-0.416,0), x_reflection=True))
drc_pattern_8t_104cpp_in.add(gdstk.Reference(sc8t_colcapnx1_csc20sl, (-0.52,0), x_reflection=True))
drc_pattern_8t_104cpp_in.add(gdstk.Reference(sc8t_colcapnx1_csc20sl, (-0.624,0), x_reflection=True))
drc_pattern_8t_104cpp_in.add(gdstk.Reference(sc8t_colcapnx1_csc20sl, (-0.728,0), x_reflection=True))
drc_pattern_8t_104cpp_in.add(gdstk.Reference(sc8t_colcapnx1_csc20sl, (-0.832,0), x_reflection=True))
drc_pattern_8t_104cpp_in.add(gdstk.Reference(sc8t_colcapnx1_csc20sl, (-0.936,0), x_reflection=True))
drc_pattern_8t_104cpp_in.add(gdstk.Reference(sc8t_colcapnx1_csc20sl, (-1.04,0), x_reflection=True))
drc_pattern_8t_104cpp_in.add(gdstk.Reference(sc8t_colcapnx1_csc20sl, (0.312,0), x_reflection=True))
drc_pattern_8t_104cpp_in.add(gdstk.Reference(sc8t_cnrextantennaplx9_c, (-1.976,1.28), x_reflection=True))
drc_pattern_8t_104cpp_in.add(gdstk.Reference(sc8t_cnrextantennanrx9_c, (1.976,0), x_reflection=True))
drc_pattern_8t_104cpp_in.add(gdstk.Reference(sc8t_rowcapantennalx9_cs, (-1.976,0)))
drc_pattern_8t_104cpp_in.add(gdstk.Reference(sc8t_cnrextantennaprx9_c, (1.976,1.28), x_reflection=True))
drc_pattern_8t_104cpp_in.add(gdstk.Reference(sc8t_cnrextantennanlx9_c, (-1.976,0), x_reflection=True))

lib.write_gds('DRC_PATTERN_8T_104CPP_INVX8_CSC28SL.gds')
